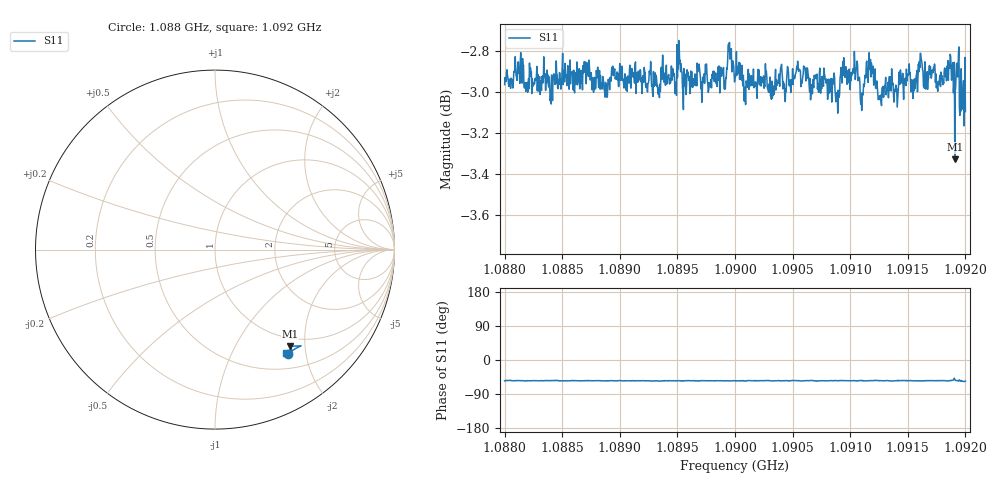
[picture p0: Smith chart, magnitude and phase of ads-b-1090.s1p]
! Calibrated averaged scanner-service zoom
# Hz S RI R 50
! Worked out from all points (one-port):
!   1001 points, 1.088 GHz to 1.092 GHz, reference 50 ohm
!   lowest |S11| = -3.3 dB at 1.09191 GHz (marker M1), VSWR 5.28, Z = 42.6 - j85.7 ohm
!   |S11| at or under -10 dB: nowhere
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1.088e9  0.4088 -0.5814
1.08844e9  0.4168 -0.5806
1.0885e9  0.4114 -0.5878
1.089e9  0.4199 -0.5839
1.089336e9  0.3994 -0.5864
1.0895e9  0.4089 -0.5848
1.09e9  0.4154 -0.58
1.090084e9  0.4038 -0.5831
1.090268e9  0.4199 -0.578
1.09032e9  0.4074 -0.5841
1.0905e9  0.4189 -0.582
1.090584e9  0.4072 -0.5844
1.090664e9  0.4183 -0.5713
1.090708e9  0.4009 -0.5917
1.090888e9  0.4079 -0.578
1.090932e9  0.417 -0.5809
1.091e9  0.409 -0.5789
1.091204e9  0.4159 -0.5762
1.091364e9  0.4031 -0.5865
1.091436e9  0.4201 -0.5806
1.0915e9  0.4136 -0.5832
1.091612e9  0.4139 -0.5932
1.091776e9  0.4129 -0.5821
1.091852e9  0.4099 -0.5828
1.091884e9  0.4256 -0.5757
1.091908e9  0.4181 -0.5383
1.091972e9  0.3936 -0.5802
1.092e9  0.3955 -0.5777
